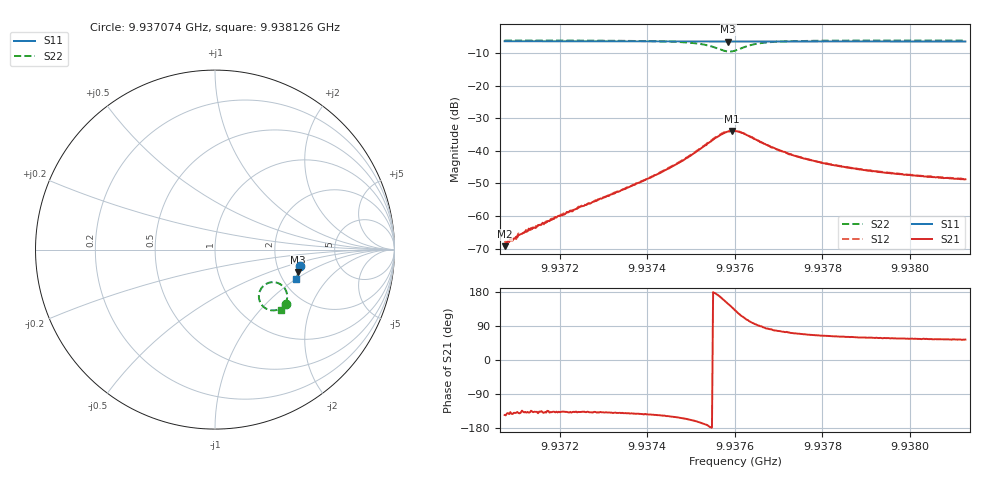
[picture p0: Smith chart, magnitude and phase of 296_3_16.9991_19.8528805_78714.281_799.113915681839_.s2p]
#  HZ  S  RI  R  50.00
! Rohde & Schwarz Vector Network Analyzer
! Rohde-Schwarz,ZNB20-2Port,1311601062101988,3.16
! Created: UTC 3/20/2024, 11:05:19 PM
! freq[Hz]  re:S11  im:S11  re:S21  im:S21  re:S12  im:S12  re:S22  im:S22
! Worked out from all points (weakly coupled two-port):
!   401 points, 9.937074 GHz to 9.938126 GHz, reference 50 ohm
!   highest |S21| = -33.84 dB at 9.937593 GHz (marker M1); lowest = -69.3 dB at 9.937074 GHz (marker M2)
!   lowest |S11| = -6.4 dB at 9.937585 GHz (marker M3), VSWR 2.84, Z = 127 - j41.3 ohm
!   |S11| at or under -10 dB: nowhere
!   |S22| runs from -9.5 to -6.1 dB; largest |S21 - S12| = 0.00091
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9.9370743e9  0.4756 -0.0925  -0.000282 -0.000196  -0.0003 -0.000246  0.3947 -0.304
9.9370849e9  0.4753 -0.0934  -0.000316 -0.000241  -0.000296 -0.000263  0.394 -0.3047
9.9371085e9  0.4749 -0.0949  -0.000398 -0.000326  -0.000414 -0.000341  0.3923 -0.3067
9.9371348e9  0.4744 -0.0967  -0.000453 -0.00047  -0.000452 -0.00042  0.3902 -0.3084
9.9371427e9  0.4742 -0.0973  -0.000477 -0.000455  -0.000532 -0.00048  0.3896 -0.3091
9.9371927e9  0.4732 -0.1007  -0.000685 -0.000654  -0.000693 -0.000688  0.3856 -0.313
9.9372506e9  0.4722 -0.1045  -0.00103 -0.000963  -0.00107 -0.000974  0.3797 -0.3178
9.937361e9  0.4698 -0.1119  -0.00221 -0.00177  -0.00223 -0.00175  0.3641 -0.3282
9.9374268e9  0.4685 -0.1164  -0.0037 -0.00253  -0.00385 -0.0025  0.3478 -0.3352
9.9374794e9  0.467 -0.1201  -0.00628 -0.00313  -0.00642 -0.00311  0.324 -0.339
9.9375294e9  0.4653 -0.1233  -0.0115 -0.00227  -0.0118 -0.00209  0.2809 -0.3266
9.9375609e9  0.4641 -0.125  -0.0164 0.0023  -0.0168 0.00304  0.2473 -0.2817
9.9375846e9  0.4631 -0.1256  -0.0169 0.0106  -0.0168 0.0112  0.2559 -0.2191
9.9375925e9  0.4631 -0.1259  -0.0156 0.013  -0.0153 0.0138  0.2717 -0.2005
9.9376004e9  0.4632 -0.126  -0.0133 0.0152  -0.0131 0.0158  0.292 -0.1878
9.9376214e9  0.4635 -0.1269  -0.00661 0.017  -0.00623 0.0174  0.3468 -0.1851
9.9376556e9  0.4636 -0.1295  -0.000134 0.0141  0.000431 0.014  0.3916 -0.2212
9.9377082e9  0.4627 -0.1333  0.00262 0.0095  0.00267 0.00946  0.4024 -0.2636
9.9377766e9  0.4613 -0.1381  0.00291 0.00651  0.00303 0.0065  0.3972 -0.2905
9.9378661e9  0.4592 -0.144  0.00264 0.00473  0.00279 0.00472  0.3884 -0.3082
9.9379529e9  0.4569 -0.1497  0.00245 0.00384  0.00253 0.00386  0.3814 -0.319
9.9381265e9  0.4523 -0.161  0.00216 0.00296  0.00226 0.00293  0.3687 -0.3337
